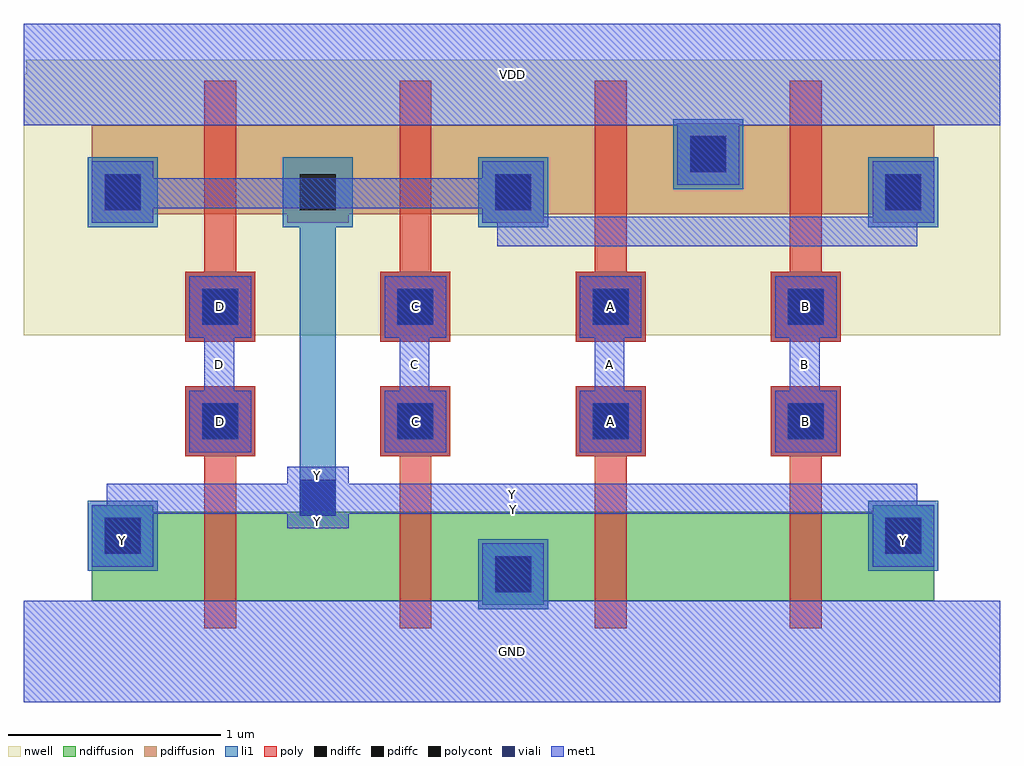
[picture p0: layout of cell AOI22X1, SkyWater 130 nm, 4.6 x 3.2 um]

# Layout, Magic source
magic
# Generated by librecell
tech sky130A
<< nwell >>
rect 0 149 460 272
rect 1 272 460 279
<< viali >>
rect 222 28 239 45
rect 38 46 55 63
rect 406 46 423 63
rect 130 64 147 81
rect 84 100 101 117
rect 176 100 193 117
rect 268 100 285 117
rect 360 100 377 117
rect 84 154 101 171
rect 176 154 193 171
rect 268 154 285 171
rect 360 154 377 171
rect 38 208 55 225
rect 222 208 239 225
rect 406 208 423 225
rect 314 226 331 243
<< poly >>
rect 85 11 100 92
rect 76 92 109 125
rect 177 11 192 92
rect 168 92 201 125
rect 269 11 284 92
rect 260 92 293 125
rect 361 11 376 92
rect 352 92 385 125
rect 76 146 109 179
rect 85 179 100 269
rect 168 146 201 179
rect 177 179 192 269
rect 260 146 293 179
rect 269 179 284 269
rect 352 146 385 179
rect 361 179 376 269
<< properties >>
string FIXED_BBOX 0 0 460 272
<< li1 >>
rect 214 20 247 53
rect 30 38 63 71
rect 398 38 431 71
rect 76 92 109 125
rect 168 92 201 125
rect 260 92 293 125
rect 352 92 385 125
rect 76 146 109 179
rect 168 146 201 179
rect 260 146 293 179
rect 352 146 385 179
rect 30 200 63 233
rect 130 64 147 200
rect 122 200 155 233
rect 214 200 247 233
rect 398 200 431 233
rect 306 218 339 251
<< met1 >>
rect 0 -24 460 24
rect 216 24 245 51
rect 32 40 61 65
rect 124 58 153 65
rect 400 40 429 65
rect 32 65 429 69
rect 39 69 421 79
rect 124 79 153 87
rect 78 94 107 123
rect 85 123 99 148
rect 78 148 107 177
rect 170 94 199 123
rect 177 123 191 148
rect 170 148 199 177
rect 262 94 291 123
rect 269 123 283 148
rect 262 148 291 177
rect 354 94 383 123
rect 361 123 375 148
rect 354 148 383 177
rect 223 191 421 202
rect 216 202 429 205
rect 32 202 61 209
rect 216 205 245 209
rect 32 209 245 223
rect 32 223 61 231
rect 216 223 245 231
rect 400 205 429 231
rect 308 220 337 248
rect 0 248 460 296
<< li1 >>
<< met1 >>
<< li1 >>
<< met1 >>
rect 0 -24 460 24
rect 32 40 61 65
rect 124 58 153 65
rect 400 40 429 65
rect 32 65 429 69
rect 39 69 421 79
rect 124 79 153 87
rect 78 94 107 123
rect 85 123 99 148
rect 78 148 107 177
rect 170 94 199 123
rect 177 123 191 148
rect 170 148 199 177
rect 262 94 291 123
rect 269 123 283 148
rect 262 148 291 177
rect 354 94 383 123
rect 361 123 375 148
rect 354 148 383 177
rect 0 248 460 296
<< ndiffusion >>
rect 216 22 245 24
rect 32 24 429 66
rect 32 66 61 69
rect 400 66 429 69
<< pdiffusion >>
rect 32 202 61 206
rect 124 202 153 206
rect 216 202 245 206
rect 400 202 429 206
rect 32 206 429 248
rect 308 248 337 249
<< polycont >>
rect 84 100 101 117
rect 176 100 193 117
rect 268 100 285 117
rect 360 100 377 117
rect 84 154 101 171
rect 176 154 193 171
rect 268 154 285 171
rect 360 154 377 171
<< pdiffc >>
rect 38 208 55 225
rect 130 208 147 225
rect 222 208 239 225
rect 406 208 423 225
rect 314 226 331 243
<< ndiffc >>
rect 222 28 239 45
rect 38 46 55 63
rect 406 46 423 63
<< labels >>
rlabel metal2 0 248 460 296 0 VDD
port 1 se
rlabel metal2 0 -24 460 24 0 GND
port 2 se
rlabel metal2 32 40 61 65 0 Y
port 3 se
rlabel metal2 124 58 153 65 0 Y
port 4 se
rlabel metal2 400 40 429 65 0 Y
port 5 se
rlabel metal2 32 65 429 69 0 Y
port 6 se
rlabel metal2 39 69 421 79 0 Y
port 7 se
rlabel metal2 124 79 153 87 0 Y
port 8 se
rlabel metal2 354 94 383 123 0 B
port 9 se
rlabel metal2 361 123 375 148 0 B
port 10 se
rlabel metal2 354 148 383 177 0 B
port 11 se
rlabel metal2 262 94 291 123 0 A
port 12 se
rlabel metal2 269 123 283 148 0 A
port 13 se
rlabel metal2 262 148 291 177 0 A
port 14 se
rlabel metal2 78 94 107 123 0 D
port 15 se
rlabel metal2 85 123 99 148 0 D
port 16 se
rlabel metal2 78 148 107 177 0 D
port 17 se
rlabel metal2 170 94 199 123 0 C
port 18 se
rlabel metal2 177 123 191 148 0 C
port 19 se
rlabel metal2 170 148 199 177 0 C
port 20 se
<< end >>
